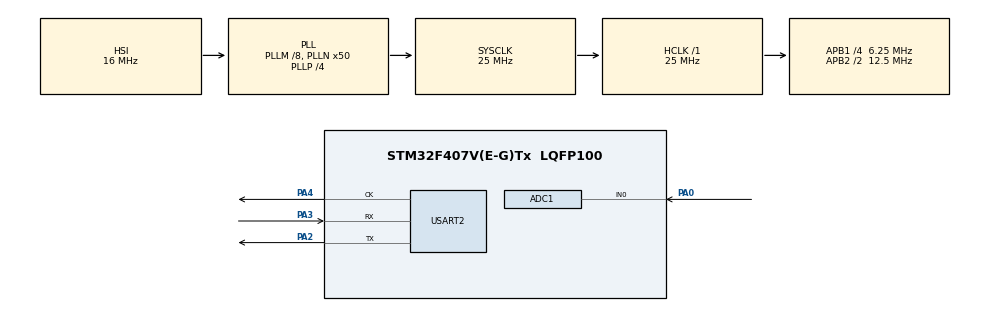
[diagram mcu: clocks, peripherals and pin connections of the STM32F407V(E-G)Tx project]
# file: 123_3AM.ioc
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ADC1.Channel-0\#ChannelRegularConversion=ADC_CHANNEL_0
ADC1.NbrOfConversionFlag=1
ADC1.Rank-0\#ChannelRegularConversion=1
ADC1.SamplingTime-0\#ChannelRegularConversion=ADC_SAMPLETIME_3CYCLES
ADC1.master=1
Mcu.Family=STM32F4
Mcu.Name=STM32F407V(E-G)Tx
Mcu.Package=LQFP100
NVIC.PriorityGroup=NVIC_PRIORITYGROUP_0
PA0-WKUP.Signal=ADCx_IN0
PA2.Mode=Synchronous
PA2.Signal=USART2_TX
PA3.Mode=Synchronous
PA3.Signal=USART2_RX
PA4.Mode=Synchronous
PA4.Signal=USART2_CK
ProjectManager.HeapSize=0x200
ProjectManager.StackSize=0x400
ProjectManager.TargetToolchain=STM32CubeIDE
RCC.48MHZClocksFreq_Value=14285714.285714285
RCC.AHBFreq_Value=25000000
RCC.APB1CLKDivider=RCC_HCLK_DIV4
RCC.APB1Freq_Value=6250000
RCC.APB1TimFreq_Value=12500000
RCC.APB2CLKDivider=RCC_HCLK_DIV2
RCC.APB2Freq_Value=12500000
RCC.APB2TimFreq_Value=25000000
RCC.CortexFreq_Value=25000000
RCC.HCLKFreq_Value=25000000
RCC.HSE_VALUE=8000000
RCC.HSI_VALUE=16000000
RCC.LSE_VALUE=32768
RCC.PLLM=8
RCC.PLLN=50
RCC.PLLP=RCC_PLLP_DIV4
RCC.PLLQ=7
RCC.SYSCLKFreq_VALUE=25000000
RCC.SYSCLKSource=RCC_SYSCLKSOURCE_PLLCLK
RCC.VCOOutputFreq_Value=100000000
SH.ADCx_IN0.0=ADC1_IN0,IN0
USART2.VirtualMode=VM_SYNC
board=STM32F407G-DISC1

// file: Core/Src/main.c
/* USER CODE BEGIN Header */
/**
  ******************************************************************************
  * @file           : main.c
  * @brief          : Main program body
  ******************************************************************************
  * @attention
  *
  * Copyright (c) 2024 STMicroelectronics.
  * All rights reserved.
  *
  * This software is licensed under terms that can be found in the LICENSE file
  * in the root directory of this software component.
  * If no LICENSE file comes with this software, it is provided AS-IS.
  *
  ******************************************************************************
  */
/* USER CODE END Header */
#include "main.h"

/* USER CODE BEGIN Includes */
#include<stdio.h>
#include<string.h>
/* USER CODE END Includes */

ADC_HandleTypeDef hadc1;

USART_HandleTypeDef husart2;

void SystemClock_Config(void);
static void MX_GPIO_Init(void);
static void MX_ADC1_Init(void);
static void MX_USART2_Init(void);

int main(void)
{
  /* USER CODE BEGIN 1 */
	struct reader
	{
	    uint8_t value;
    	uint8_t value1;
	    uint8_t value2;
	};
		char str[64] = "temperature : ";
  /* USER CODE END 1 */

  /* MCU Configuration--------------------------------------------------------*/

  /* Reset of all peripherals, Initializes the Flash interface and the Systick. */
  HAL_Init();

  /* Configure the system clock */
  SystemClock_Config();

  /* Initialize all configured peripherals */
  MX_GPIO_Init();
  MX_ADC1_Init();
  MX_USART2_Init();

  /* Infinite loop */
  while (1)
  {

    /* USER CODE BEGIN 3 */
	  struct reader red;
	  HAL_ADC_Start(&hadc1);
	      HAL_ADC_PollForConversion(&hadc1, HAL_MAX_DELAY);
	      red.value = HAL_ADC_GetValue(&hadc1);
	      red.value1 = (red.value - 32)*0.5;
	      red.value2 = HAL_ADC_GetValue(&hadc1);
           sprintf(str,"temperature = %d\r\n humidity =%d\r\n",red.value1,red.value2);
//           HAL_Delay(50);
//           sprintf(str,"humidity = %d\r\n",red.value2);
	      HAL_USART_Transmit(&husart2,(uint8_t*)str,strlen(str),HAL_MAX_DELAY);
	      HAL_Delay(1000);
	      HAL_ADC_Stop(&hadc1);
  }
  /* USER CODE END 3 */
}

void SystemClock_Config(void)
{
  RCC_OscInitTypeDef RCC_OscInitStruct = {0};
  RCC_ClkInitTypeDef RCC_ClkInitStruct = {0};

  /** Configure the main internal regulator output voltage
  */
  __HAL_RCC_PWR_CLK_ENABLE();
  __HAL_PWR_VOLTAGESCALING_CONFIG(PWR_REGULATOR_VOLTAGE_SCALE1);

  /** Initializes the RCC Oscillators according to the specified parameters
  * in the RCC_OscInitTypeDef structure.
  */
  RCC_OscInitStruct.OscillatorType = RCC_OSCILLATORTYPE_HSI;
  RCC_OscInitStruct.HSIState = RCC_HSI_ON;
  RCC_OscInitStruct.HSICalibrationValue = RCC_HSICALIBRATION_DEFAULT;
  RCC_OscInitStruct.PLL.PLLState = RCC_PLL_ON;
  RCC_OscInitStruct.PLL.PLLSource = RCC_PLLSOURCE_HSI;
  RCC_OscInitStruct.PLL.PLLM = 8;
  RCC_OscInitStruct.PLL.PLLN = 50;
  RCC_OscInitStruct.PLL.PLLP = RCC_PLLP_DIV4;
  RCC_OscInitStruct.PLL.PLLQ = 7;
  if (HAL_RCC_OscConfig(&RCC_OscInitStruct) != HAL_OK)
  {
    Error_Handler();
  }

  /** Initializes the CPU, AHB and APB buses clocks
  */
  RCC_ClkInitStruct.ClockType = RCC_CLOCKTYPE_HCLK|RCC_CLOCKTYPE_SYSCLK
                              |RCC_CLOCKTYPE_PCLK1|RCC_CLOCKTYPE_PCLK2;
  RCC_ClkInitStruct.SYSCLKSource = RCC_SYSCLKSOURCE_PLLCLK;
  RCC_ClkInitStruct.AHBCLKDivider = RCC_SYSCLK_DIV1;
  RCC_ClkInitStruct.APB1CLKDivider = RCC_HCLK_DIV4;
  RCC_ClkInitStruct.APB2CLKDivider = RCC_HCLK_DIV2;

  if (HAL_RCC_ClockConfig(&RCC_ClkInitStruct, FLASH_LATENCY_0) != HAL_OK)
  {
    Error_Handler();
  }
}

static void MX_ADC1_Init(void)
{

  ADC_ChannelConfTypeDef sConfig = {0};

  /** Configure the global features of the ADC (Clock, Resolution, Data Alignment and number of conversion)
  */
  hadc1.Instance = ADC1;
  hadc1.Init.ClockPrescaler = ADC_CLOCK_SYNC_PCLK_DIV2;
  hadc1.Init.Resolution = ADC_RESOLUTION_12B;
  hadc1.Init.ScanConvMode = DISABLE;
  hadc1.Init.ContinuousConvMode = DISABLE;
  hadc1.Init.DiscontinuousConvMode = DISABLE;
  hadc1.Init.ExternalTrigConvEdge = ADC_EXTERNALTRIGCONVEDGE_NONE;
  hadc1.Init.ExternalTrigConv = ADC_SOFTWARE_START;
  hadc1.Init.DataAlign = ADC_DATAALIGN_RIGHT;
  hadc1.Init.NbrOfConversion = 1;
  hadc1.Init.DMAContinuousRequests = DISABLE;
  hadc1.Init.EOCSelection = ADC_EOC_SINGLE_CONV;
  if (HAL_ADC_Init(&hadc1) != HAL_OK)
  {
    Error_Handler();
  }

  /** Configure for the selected ADC regular channel its corresponding rank in the sequencer and its sample time.
  */
  sConfig.Channel = ADC_CHANNEL_0;
  sConfig.Rank = 1;
  sConfig.SamplingTime = ADC_SAMPLETIME_3CYCLES;
  if (HAL_ADC_ConfigChannel(&hadc1, &sConfig) != HAL_OK)
  {
    Error_Handler();
  }

}

static void MX_USART2_Init(void)
{

  husart2.Instance = USART2;
  husart2.Init.BaudRate = 115200;
  husart2.Init.WordLength = USART_WORDLENGTH_8B;
  husart2.Init.StopBits = USART_STOPBITS_1;
  husart2.Init.Parity = USART_PARITY_NONE;
  husart2.Init.Mode = USART_MODE_TX_RX;
  husart2.Init.CLKPolarity = USART_POLARITY_LOW;
  husart2.Init.CLKPhase = USART_PHASE_1EDGE;
  husart2.Init.CLKLastBit = USART_LASTBIT_DISABLE;
  if (HAL_USART_Init(&husart2) != HAL_OK)
  {
    Error_Handler();
  }

}

static void MX_GPIO_Init(void)
{

  /* GPIO Ports Clock Enable */
  __HAL_RCC_GPIOA_CLK_ENABLE();

}

void Error_Handler(void)
{
  __disable_irq();
  while (1)
  {
  }
}
